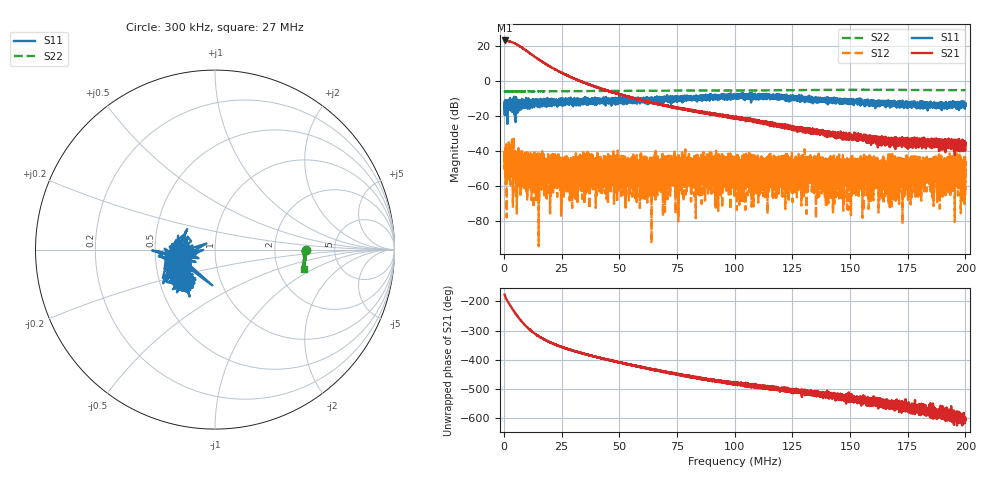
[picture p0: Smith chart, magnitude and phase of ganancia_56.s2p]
# Hz S DB R 50
! CMT, M5065, 19127446, 24.2.4/2
! Date: 11/8/2024 3:22:56 PM
! Data: Format (Calibration Info)
! Freq	S11:dB/Ang(F2)	S21:dB/Ang(F2)	S12:dB/Ang(F2)	S22:dB/Ang(F2)
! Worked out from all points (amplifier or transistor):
!   9000 points, 300 kHz to 200 MHz, reference 50 ohm
!   highest |S21| = 23.1 dB at 433.1 kHz (marker M1)
!   |S21| within 3 dB of that: start of sweep to 6.503 MHz
!   unconditionally stable (mu >= 1): start of sweep to end of sweep
!   at 33.59 MHz: K = 181.00, MAG = 1.1 dB, |S12| = -53.8 dB
!   at 100.2 MHz: K = 922.49, MAG = -19.3 dB, |S12| = -48.0 dB
!   at 200 MHz: K = 4061.06, MAG = -34.0 dB, |S12| = -45.9 dB
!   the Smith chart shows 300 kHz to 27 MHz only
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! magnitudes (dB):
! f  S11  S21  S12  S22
! 300 kHz  -14.0  22.6  -40.6  -5.9
! 433.1 kHz  -16.5  23.1  -48.5  -6.0
! 4.805 MHz  -14.6  21.3  -55.3  -6.0
! 13.42 MHz  -12.8  13.7  -43.6  -5.9
! 33.59 MHz  -12.4  -0.4  -53.8  -5.9
! 66.87 MHz  -9.9  -13.2  -57.0  -5.7
! 72.4 MHz  -10.9  -14.9  -50.7  -5.6
! 76.19 MHz  -11.2  -15.6  -45.2  -5.6
! 77.73 MHz  -9.6  -16.2  -51.3  -5.6
! 93.68 MHz  -10.1  -19.3  -50.6  -5.6
! 100.2 MHz  -9.0  -21.3  -48.0  -5.6
! 103.4 MHz  -8.4  -21.3  -49.5  -5.6
! 105.4 MHz  -8.4  -21.9  -53.2  -5.5
! 107.4 MHz  -8.8  -22.3  -50.7  -5.5
! 115.3 MHz  -9.7  -24.3  -47.5  -5.5
! 117.3 MHz  -9.2  -25.0  -54.6  -5.5
! 133.4 MHz  -10.5  -28.6  -63.4  -5.3
! 163.7 MHz  -13.0  -33.9  -45.3  -5.2
! 166.7 MHz  -11.9  -35.4  -52.6  -5.2
! 183.3 MHz  -13.5  -35.5  -54.0  -5.3
! 199 MHz  -13.7  -37.0  -55.2  -5.3
! 200 MHz  -14.0  -35.7  -45.9  -5.3
